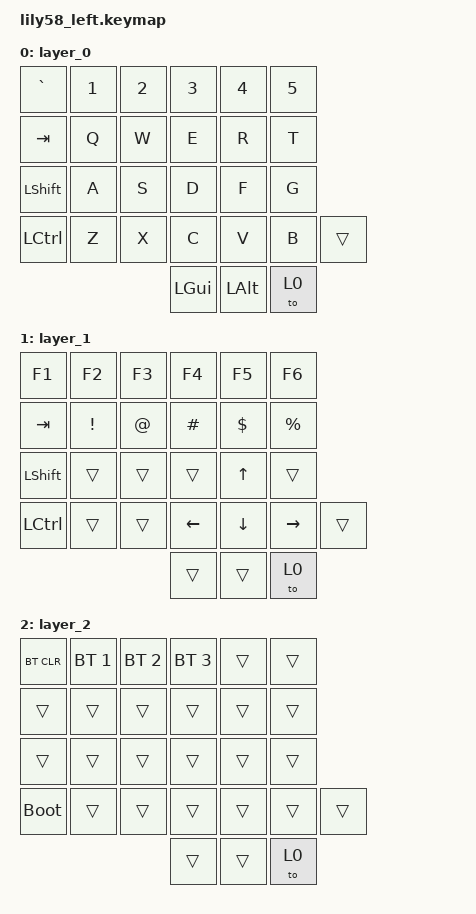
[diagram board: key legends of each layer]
#include <behaviors.dtsi>
#include <dt-bindings/zmk/bt.h>
#include <dt-bindings/zmk/keys.h>

/ {
    keymap {
        compatible = "zmk,keymap";

        layer_0 {
            bindings = <
                &kp GRAVE         &kp NUMBER_1  &kp NUMBER_2  &kp NUMBER_3  &kp NUMBER_4  &kp N5
                &kp TAB           &kp Q         &kp W         &kp E         &kp R         &kp T
                &kp LEFT_SHIFT    &kp A         &kp S         &kp D         &kp F         &kp G
                &kp LEFT_CONTROL  &kp Z         &kp X         &kp C         &kp V         &kp B   &trans
                                                            &kp LEFT_GUI  &kp LEFT_ALT  &to 0
            >;
        };

        layer_1 {
            bindings = <
                &kp F1            &kp F2    &kp F3  &kp F4    &kp F5        &kp F6
                &kp TAB           &kp EXCL  &kp AT  &kp HASH  &kp DOLLAR    &kp PERCENT
                &kp LSHIFT        &trans    &trans  &trans    &kp UP_ARROW  &trans
                &kp LEFT_CONTROL  &trans    &trans  &kp LEFT  &kp DOWN      &kp RIGHT    &trans
                                                    &trans    &trans        &to 0
            >;
        };

        layer_2 {
            bindings = <
                &bt BT_CLR   &bt BT_SEL 1  &bt BT_SEL 2  &bt BT_SEL 3  &trans  &trans
                &trans       &trans        &trans        &trans        &trans  &trans
                &trans       &trans        &trans        &trans        &trans  &trans
                &bootloader  &trans        &trans        &trans        &trans  &trans  &trans
                                                        &trans        &trans  &to 0
            >;
        };
    };
};
